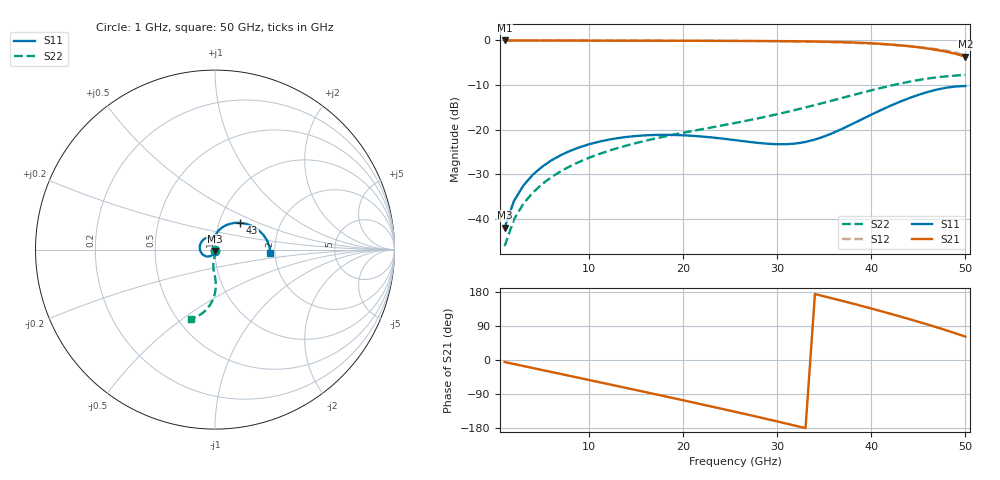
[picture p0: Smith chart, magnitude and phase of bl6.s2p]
! Impedora 0.10.0 via model, case bl6 (fullwave/cases.json), 2026-11-19
! Blind via in a thicker low-loss board (εr 3.4): the barrel crosses a 0.4 mm plane pair and ends on a 0.28 mm stripline 0.2 mm into the next pair (0.5 mm), 0.5 mm pad, 0.75 mm antipad: with its pads and traces, ports at the far end of each trace, after the 3D port calibration.
! Ports: 1 = upper end, 2 = lower end, 50 ohm.
! Compared with the edge 3D mesh.
# Hz S RI R 50
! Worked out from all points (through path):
!   50 points, 1 GHz to 50 GHz, reference 50 ohm
!   highest |S21| = 0.00 dB at 1 GHz (marker M1); lowest = -3.6 dB at 50 GHz (marker M2)
!   group delay of S21, straight-line fit = 16.2 ps
!   lowest |S11| = -42.0 dB at 1 GHz (marker M3), VSWR 1.02, Z = 49.9 - j0.789 ohm
!   |S11| at or under -10 dB: start of sweep to end of sweep
!   |S22| runs from -46.2 to -7.7 dB; largest |S21 - S12| = 1.6
!   S11 on the Smith chart (normalised r, x): 1 GHz: 1.00, -0.02; 43 GHz: 1.26, +0.39; 50 GHz: 1.89, -0.09
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1e9  -0.00084 -0.00791  0.9957 -0.0922  0.9992 -0.0405  -4.3e-05 -0.00491
2e9  -0.00333 -0.0155  0.9828 -0.1836  0.9966 -0.0809  -0.000173 -0.00982
3e9  -0.00736 -0.0224  0.9615 -0.2734  0.9924 -0.1211  -0.000391 -0.0147
4e9  -0.0128 -0.0284  0.9319 -0.3607  0.9865 -0.1612  -0.000698 -0.0196
7e9  -0.035 -0.0381  0.7967 -0.601  0.959 -0.2796  -0.00214 -0.0341
1e10  -0.0599 -0.0332  0.6008 -0.7947  0.9168 -0.3942  -0.00422 -0.0481
1.4e10  -0.0825 -0.00593  0.2715 -0.9563  0.8384 -0.5384  -0.00728 -0.0659
1.8e10  -0.0814 0.0313  -0.096 -0.9875  0.7352 -0.6695  -0.00946 -0.0829
2.2e10  -0.0581 0.0599  -0.4535 -0.8805  0.6077 -0.7834  -0.00942 -0.1005
2.6e10  -0.0277 0.0696  -0.75 -0.6431  0.4563 -0.8754  -0.00631 -0.1212
3e10  -0.00727 0.068  -0.9361 -0.301  0.2816 -0.9383  -0.000632 -0.1488
3.2e10  -0.00229 0.0697  -0.9736 -0.104  0.186 -0.9559  0.00226 -0.1668
3.4e10  0.00187 0.0772  -0.9678 0.1003  0.0858 -0.962  0.00414 -0.1884
3.6e10  0.00964 0.0918  -0.9152 0.3021  -0.0178 -0.9547  0.00374 -0.2139
3.8e10  0.0268 0.1126  -0.8142 0.4894  -0.1232 -0.9321  -0.000569 -0.2432
4e10  0.059 0.1346  -0.6668 0.6479  -0.2275 -0.8921  -0.0106 -0.2754
4.2e10  0.1088 0.1488  -0.4802 0.7624  -0.3275 -0.8333  -0.028 -0.3086
4.3e10  0.1395 0.1494  -0.3763 0.7989  -0.3746 -0.7964  -0.0397 -0.3246
4.5e10  0.2071 0.1312  -0.1582 0.8236  -0.4604 -0.7067  -0.0685 -0.3528
4.7e10  0.2688 0.0831  0.0556 0.7793  -0.5298 -0.5938  -0.1011 -0.3726
4.8e10  0.291 0.0496  0.1536 0.7305  -0.5552 -0.5274  -0.116 -0.3786
5e10  0.3076 -0.0204  0.3115 0.5793  -0.5729 -0.3736  -0.1339 -0.388
